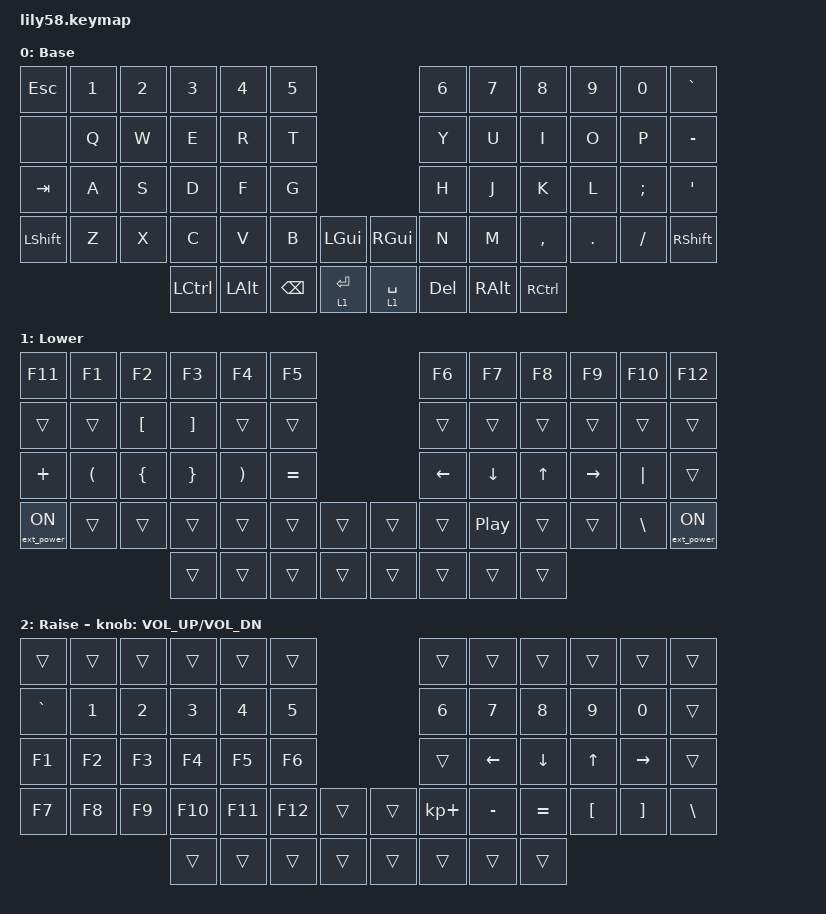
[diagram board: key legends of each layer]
/*
 * Copyright (c) 2020 The ZMK Contributors
 *
 * SPDX-License-Identifier: MIT
 */

#include <behaviors.dtsi>
#include <dt-bindings/zmk/ext_power.h>
#include <dt-bindings/zmk/keys.h>

/ {
    keymap {
        compatible = "zmk,keymap";

        default_layer {
            // ------------------------------------------------------------------------------------------------------------
            // |  ESC  |  1  |  2  |  3   |  4   |  5   |                   |  6   |  7    |  8    |  9   |   0   |   `   |
            // |  TAB  |  Q  |  W  |  E   |  R   |  T   |                   |  Y   |  U    |  I    |  O   |   P   |   -   |
            // |  CTRL |  A  |  S  |  D   |  F   |  G   |                   |  H   |  J    |  K    |  L   |   ;   |   '   |
            // | SHIFT |  Z  |  X  |  C   |  V   |  B   |   "["  |  |  "]"  |  N   |  M    |  ,    |  .   |   /   | SHIFT |
            //                     | ALT  | GUI  | LOWER|  SPACE |  | ENTER | RAISE| BSPC  | GUI   |

            display-name = "Base";
            bindings = <
&kp ESC    &kp N1  &kp N2  &kp N3     &kp N4    &kp N5                                      &kp N6   &kp N7    &kp N8     &kp N9   &kp N0    &kp GRAVE
&none      &kp Q   &kp W   &kp E      &kp R     &kp T                                       &kp Y    &kp U     &kp I      &kp O    &kp P     &kp MINUS
&kp TAB    &kp A   &kp S   &kp D      &kp F     &kp G                                       &kp H    &kp J     &kp K      &kp L    &kp SEMI  &kp SQT
&kp LSHFT  &kp Z   &kp X   &kp C      &kp V     &kp B          &kp LEFT_GUI    &kp RGUI     &kp N    &kp M     &kp COMMA  &kp DOT  &kp FSLH  &kp RSHFT
                           &kp LCTRL  &kp LALT  &kp BACKSPACE  &lt 1 ENTER     &lt 1 SPACE  &kp DEL  &kp RALT  &kp RCTRL
            >;
        };

        lower_layer {
            // ------------------------------------------------------------------------------------------------------------
            // | BTCLR | BT1 | BT2 |  BT3 |  BT4 |  BT5 |                   |      |       |       |      |       |       |
            // |  F1   |  F2 |  F3 |  F4  |  F5  |  F6  |                   |  F7  |  F8   |  F9   |  F10 |  F11  |  F12  |
            // |   `   |  !  |  @  |  #   |  $   |  %   |                   |  ^   |  &    |  *    |  (   |   )   |   ~   |
            // |       |     |     |      |      |      |        |  |       |      |  _    |  +    |  {   |   }   |  "|"  |
            //                     |      |      |      |        |  |       |      |       |       |

            display-name = "Lower";
            bindings = <
&kp F11           &kp F1    &kp F2    &kp F3    &kp F4    &kp F5                       &kp F6    &kp F7            &kp F8  &kp F9     &kp F10   &kp F12
&trans            &trans    &kp LBKT  &kp RBKT  &trans    &trans                       &trans    &trans            &trans  &trans     &trans    &trans
&kp PLUS          &kp LPAR  &kp LBRC  &kp RBRC  &kp RPAR  &kp EQUAL                    &kp LEFT  &kp DOWN          &kp UP  &kp RIGHT  &kp PIPE  &trans
&ext_power EP_ON  &trans    &trans    &trans    &trans    &trans     &trans    &trans  &trans    &kp C_PLAY_PAUSE  &trans  &trans     &kp BSLH  &ext_power EP_ON
                                      &trans    &trans    &trans     &trans    &trans  &trans    &trans            &trans
            >;
        };

        raise_layer {
            // ------------------------------------------------------------------------------------------------------------
            // |       |     |     |      |      |      |                   |      |       |       |      |       |       |
            // |   `   |  1  |  2  |  3   |  4   |  5   |                   |  6   |   7   |   8   |  9   |   0   |       |
            // |   F1  |  F2 |  F3 |  F4  |  F5  |  F6  |                   |      |   <-  |   v   |  ^   |  ->   |       |
            // |   F7  |  F8 |  F9 |  F10 |  F11 |  F12 |        |  |       |  +   |   -   |   =   |  [   |   ]   |   \   |
            //                     |      |      |      |        |  |       |      |       |       |

            display-name = "Raise";
            bindings = <
&trans     &trans  &trans  &trans   &trans   &trans                     &trans       &trans     &trans     &trans    &trans     &trans
&kp GRAVE  &kp N1  &kp N2  &kp N3   &kp N4   &kp N5                     &kp N6       &kp N7     &kp N8     &kp N9    &kp N0     &trans
&kp F1     &kp F2  &kp F3  &kp F4   &kp F5   &kp F6                     &trans       &kp LEFT   &kp DOWN   &kp UP    &kp RIGHT  &trans
&kp F7     &kp F8  &kp F9  &kp F10  &kp F11  &kp F12  &trans    &trans  &kp KP_PLUS  &kp MINUS  &kp EQUAL  &kp LBKT  &kp RBKT   &kp BSLH
                           &trans   &trans   &trans   &trans    &trans  &trans       &trans     &trans
            >;

            sensor-bindings = <&inc_dec_kp C_VOL_UP C_VOL_DN>;
        };

        extra_1 { status = "reserved"; };

        extra_2 { status = "reserved"; };

        extra_3 { status = "reserved"; };
    };
};
